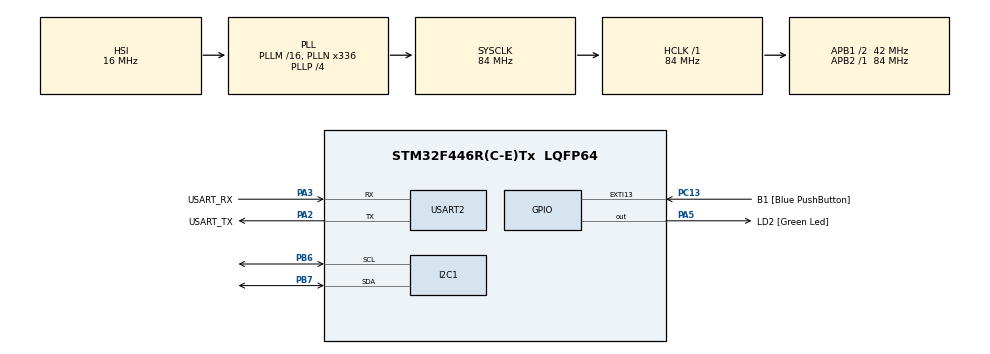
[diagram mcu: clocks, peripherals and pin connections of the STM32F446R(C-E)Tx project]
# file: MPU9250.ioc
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Mcu.Family=STM32F4
Mcu.Name=STM32F446R(C-E)Tx
Mcu.Package=LQFP64
NVIC.PriorityGroup=NVIC_PRIORITYGROUP_0
PA13.GPIO_Label=TMS
PA13.Mode=Serial_Wire
PA13.Signal=SYS_JTMS-SWDIO
PA14.GPIO_Label=TCK
PA14.Mode=Serial_Wire
PA14.Signal=SYS_JTCK-SWCLK
PA2.GPIO_Label=USART_TX
PA2.Mode=Asynchronous
PA2.Signal=USART2_TX
PA3.GPIO_Label=USART_RX
PA3.Mode=Asynchronous
PA3.Signal=USART2_RX
PA5.GPIO_Label=LD2 [Green Led]
PA5.Signal=GPIO_Output
PB3.GPIO_Label=SWO
PB3.Signal=SYS_JTDO-SWO
PB6.Mode=I2C
PB6.Signal=I2C1_SCL
PB7.Mode=I2C
PB7.Signal=I2C1_SDA
PC13.GPIO_Label=B1 [Blue PushButton]
PC13.GPIO_ModeDefaultEXTI=GPIO_MODE_IT_FALLING
PC13.Signal=GPXTI13
PC14-OSC32_IN.Mode=LSE-External-Oscillator
PC14-OSC32_IN.Signal=RCC_OSC32_IN
PC15-OSC32_OUT.Mode=LSE-External-Oscillator
PC15-OSC32_OUT.Signal=RCC_OSC32_OUT
PH0-OSC_IN.Mode=HSE-External-Oscillator
PH0-OSC_IN.Signal=RCC_OSC_IN
PH1-OSC_OUT.Mode=HSE-External-Oscillator
PH1-OSC_OUT.Signal=RCC_OSC_OUT
ProjectManager.HeapSize=0x200
ProjectManager.StackSize=0x400
ProjectManager.TargetToolchain=STM32CubeIDE
RCC.48MHZClocksFreq_Value=84000000
RCC.AHBFreq_Value=84000000
RCC.APB1CLKDivider=RCC_HCLK_DIV2
RCC.APB1Freq_Value=42000000
RCC.APB1TimFreq_Value=84000000
RCC.APB2Freq_Value=84000000
RCC.APB2TimFreq_Value=84000000
RCC.CortexFreq_Value=84000000
RCC.FLatency-AdvancedSettings=FLASH_LATENCY_2
RCC.HCLKFreq_Value=84000000
RCC.HSE_VALUE=8000000
RCC.HSI_VALUE=16000000
RCC.PLLN=336
RCC.PLLP=RCC_PLLP_DIV4
RCC.SYSCLKFreq_VALUE=84000000
RCC.SYSCLKSource=RCC_SYSCLKSOURCE_PLLCLK
RCC.USBFreq_Value=168000000
RCC.VCOOutputFreq_Value=336000000
USART2.VirtualMode=VM_ASYNC
board=NUCLEO-F446RE

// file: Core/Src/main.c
/* USER CODE BEGIN Header */
/**
  ******************************************************************************
  * @file           : main.c
  * @brief          : Main program body
  ******************************************************************************
  * @attention
  *
  * Copyright (c) 2026 STMicroelectronics.
  * All rights reserved.
  *
  * This software is licensed under terms that can be found in the LICENSE file
  * in the root directory of this software component.
  * If no LICENSE file comes with this software, it is provided AS-IS.
  *
  ******************************************************************************
  */
/* USER CODE END Header */
#include "main.h"

/* USER CODE BEGIN Includes */
#include "MPU9250.h"
#include <stdio.h>
#include <string.h>
/* USER CODE END Includes */

I2C_HandleTypeDef hi2c1;

UART_HandleTypeDef huart2;

/* USER CODE BEGIN PV */
int16_t Accel_Raw[3], Gyro_Raw[3], Mag_Raw[3];
int16_t Accel_Offset[3], Gyro_Offset[3];
float Mag_Bias[3] = {0}, Mag_Scale[3] = {1, 1, 1};
float Pitch = 0, Roll = 0, Yaw = 0;
uint32_t last_tick = 0;
/* USER CODE END PV */

void SystemClock_Config(void);
static void MX_GPIO_Init(void);
static void MX_USART2_UART_Init(void);
static void MX_I2C1_Init(void);

int main(void)
{

  /* MCU Configuration--------------------------------------------------------*/

  /* Reset of all peripherals, Initializes the Flash interface and the Systick. */
  HAL_Init();

  /* Configure the system clock */
  SystemClock_Config();

  /* Initialize all configured peripherals */
  MX_GPIO_Init();
  MX_USART2_UART_Init();
  MX_I2C1_Init();
  /* USER CODE BEGIN 2 */
  MPU9250_Init();
  HAL_Delay(100);
  /* USER CODE END 2 */

  /* Infinite loop */
  /* USER CODE BEGIN WHILE */
  Calibrate_Accel(Accel_Offset);
  Calibrate_Gyro(Gyro_Offset);

  last_tick = HAL_GetTick();
  while (1)
  {
    /* USER CODE END WHILE */

    /* USER CODE BEGIN 3 */
	  uint32_t current_tick = HAL_GetTick();
      float dt = (float)(current_tick - last_tick) / 1000.0f;
      last_tick = current_tick;

      // B. Read Raw Data
      MPU9250_ReadAccel(Accel_Raw);
      MPU9250_ReadGyro(Gyro_Raw);
      MPU9250_ReadMag(Mag_Raw);

      // C. Apply Calibration Offsets
      Accel_Raw[0] -= Accel_Offset[0];
      Accel_Raw[1] -= Accel_Offset[1];
      Accel_Raw[2] -= Accel_Offset[2];

      Gyro_Raw[0] -= Gyro_Offset[0];
      Gyro_Raw[1] -= Gyro_Offset[1];
      Gyro_Raw[2] -= Gyro_Offset[2];

      // Apply Mag calibration (Soft/Hard Iron)
      Mag_Raw[0] = (int16_t)((Mag_Raw[0] - Mag_Bias[0]) * Mag_Scale[0]);
      Mag_Raw[1] = (int16_t)((Mag_Raw[1] - Mag_Bias[1]) * Mag_Scale[1]);
      Mag_Raw[2] = (int16_t)((Mag_Raw[2] - Mag_Bias[2]) * Mag_Scale[2]);

      // D. Calculate Angles
      MPU9250_GetAngles(Accel_Raw, Gyro_Raw, Mag_Raw, &Pitch, &Roll, &Yaw, dt);

      // E. Transmit Data to Serial Monitor
      char buffer[100];
      sprintf(buffer, "P: %.2f | R: %.2f | Y: %.2f\r\n", Pitch, Roll, Yaw);
      HAL_UART_Transmit(&huart2, (uint8_t*)buffer, strlen(buffer), 10);

	  HAL_Delay(10); // Run loop at ~100Hz
  }
  /* USER CODE END 3 */
}

void SystemClock_Config(void)
{
  RCC_OscInitTypeDef RCC_OscInitStruct = {0};
  RCC_ClkInitTypeDef RCC_ClkInitStruct = {0};

  /** Configure the main internal regulator output voltage
  */
  __HAL_RCC_PWR_CLK_ENABLE();
  __HAL_PWR_VOLTAGESCALING_CONFIG(PWR_REGULATOR_VOLTAGE_SCALE3);

  /** Initializes the RCC Oscillators according to the specified parameters
  * in the RCC_OscInitTypeDef structure.
  */
  RCC_OscInitStruct.OscillatorType = RCC_OSCILLATORTYPE_HSI;
  RCC_OscInitStruct.HSIState = RCC_HSI_ON;
  RCC_OscInitStruct.HSICalibrationValue = RCC_HSICALIBRATION_DEFAULT;
  RCC_OscInitStruct.PLL.PLLState = RCC_PLL_ON;
  RCC_OscInitStruct.PLL.PLLSource = RCC_PLLSOURCE_HSI;
  RCC_OscInitStruct.PLL.PLLM = 16;
  RCC_OscInitStruct.PLL.PLLN = 336;
  RCC_OscInitStruct.PLL.PLLP = RCC_PLLP_DIV4;
  RCC_OscInitStruct.PLL.PLLQ = 2;
  RCC_OscInitStruct.PLL.PLLR = 2;
  if (HAL_RCC_OscConfig(&RCC_OscInitStruct) != HAL_OK)
  {
    Error_Handler();
  }

  /** Initializes the CPU, AHB and APB buses clocks
  */
  RCC_ClkInitStruct.ClockType = RCC_CLOCKTYPE_HCLK|RCC_CLOCKTYPE_SYSCLK
                              |RCC_CLOCKTYPE_PCLK1|RCC_CLOCKTYPE_PCLK2;
  RCC_ClkInitStruct.SYSCLKSource = RCC_SYSCLKSOURCE_PLLCLK;
  RCC_ClkInitStruct.AHBCLKDivider = RCC_SYSCLK_DIV1;
  RCC_ClkInitStruct.APB1CLKDivider = RCC_HCLK_DIV2;
  RCC_ClkInitStruct.APB2CLKDivider = RCC_HCLK_DIV1;

  if (HAL_RCC_ClockConfig(&RCC_ClkInitStruct, FLASH_LATENCY_2) != HAL_OK)
  {
    Error_Handler();
  }
}

static void MX_I2C1_Init(void)
{

  hi2c1.Instance = I2C1;
  hi2c1.Init.ClockSpeed = 100000;
  hi2c1.Init.DutyCycle = I2C_DUTYCYCLE_2;
  hi2c1.Init.OwnAddress1 = 0;
  hi2c1.Init.AddressingMode = I2C_ADDRESSINGMODE_7BIT;
  hi2c1.Init.DualAddressMode = I2C_DUALADDRESS_DISABLE;
  hi2c1.Init.OwnAddress2 = 0;
  hi2c1.Init.GeneralCallMode = I2C_GENERALCALL_DISABLE;
  hi2c1.Init.NoStretchMode = I2C_NOSTRETCH_DISABLE;
  if (HAL_I2C_Init(&hi2c1) != HAL_OK)
  {
    Error_Handler();
  }

}

static void MX_USART2_UART_Init(void)
{

  huart2.Instance = USART2;
  huart2.Init.BaudRate = 115200;
  huart2.Init.WordLength = UART_WORDLENGTH_8B;
  huart2.Init.StopBits = UART_STOPBITS_1;
  huart2.Init.Parity = UART_PARITY_NONE;
  huart2.Init.Mode = UART_MODE_TX_RX;
  huart2.Init.HwFlowCtl = UART_HWCONTROL_NONE;
  huart2.Init.OverSampling = UART_OVERSAMPLING_16;
  if (HAL_UART_Init(&huart2) != HAL_OK)
  {
    Error_Handler();
  }

}

static void MX_GPIO_Init(void)
{
  GPIO_InitTypeDef GPIO_InitStruct = {0};

  /* GPIO Ports Clock Enable */
  __HAL_RCC_GPIOC_CLK_ENABLE();
  __HAL_RCC_GPIOH_CLK_ENABLE();
  __HAL_RCC_GPIOA_CLK_ENABLE();
  __HAL_RCC_GPIOB_CLK_ENABLE();

  /*Configure GPIO pin Output Level */
  HAL_GPIO_WritePin(LD2_GPIO_Port, LD2_Pin, GPIO_PIN_RESET);

  /*Configure GPIO pin : B1_Pin */
  GPIO_InitStruct.Pin = B1_Pin;
  GPIO_InitStruct.Mode = GPIO_MODE_IT_FALLING;
  GPIO_InitStruct.Pull = GPIO_NOPULL;
  HAL_GPIO_Init(B1_GPIO_Port, &GPIO_InitStruct);

  /*Configure GPIO pin : LD2_Pin */
  GPIO_InitStruct.Pin = LD2_Pin;
  GPIO_InitStruct.Mode = GPIO_MODE_OUTPUT_PP;
  GPIO_InitStruct.Pull = GPIO_NOPULL;
  GPIO_InitStruct.Speed = GPIO_SPEED_FREQ_LOW;
  HAL_GPIO_Init(LD2_GPIO_Port, &GPIO_InitStruct);

}

void Error_Handler(void)
{
  __disable_irq();
  while (1)
  {
  }
}
